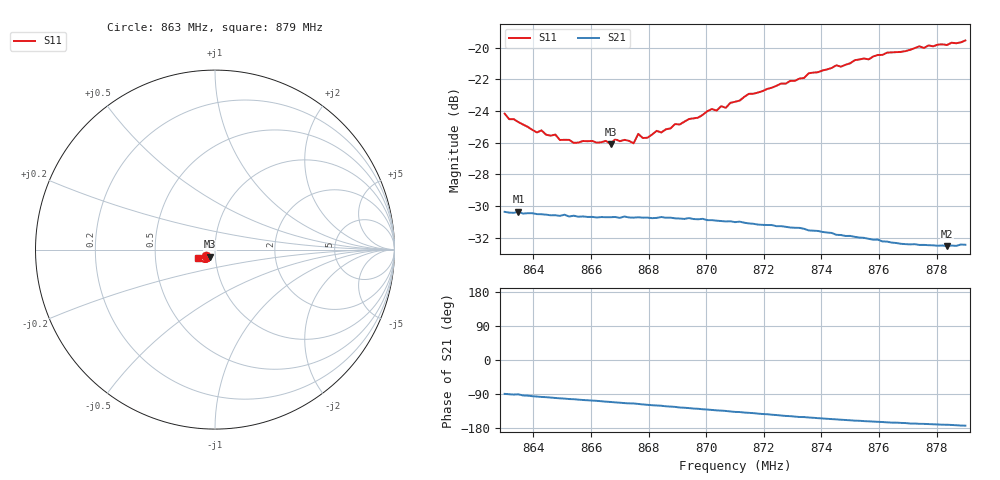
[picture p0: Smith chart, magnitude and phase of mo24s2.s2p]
# HZ S RI R 50
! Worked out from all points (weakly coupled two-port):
!   101 points, 863 MHz to 879 MHz, reference 50 ohm
!   highest |S21| = -30.37 dB at 863.48 MHz (marker M1); lowest = -32.5 dB at 878.36 MHz (marker M2)
!   lowest |S11| = -26.1 dB at 866.68 MHz (marker M3), VSWR 1.10, Z = 47 - j3.73 ohm
!   |S11| at or under -10 dB: start of sweep to end of sweep
!   S12 and S22 are empty: the file has one direction only
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8.63e8  -0.0506 -0.0356  0.000336 -0.0303  0 0  0 0
8.6316e8  -0.0475 -0.0357  -0.00021 -0.0301  0 0  0 0
8.6348e8  -0.0448 -0.0372  -0.000349 -0.0303  0 0  0 0
8.6412e8  -0.0409 -0.0352  -0.00333 -0.0296  0 0  0 0
8.6476e8  -0.0386 -0.0366  -0.00524 -0.0291  0 0  0 0
8.6492e8  -0.0369 -0.0354  -0.00567 -0.0289  0 0  0 0
8.6572e8  -0.0337 -0.0379  -0.00785 -0.0282  0 0  0 0
8.6652e8  -0.0302 -0.0408  -0.00994 -0.0274  0 0  0 0
8.6668e8  -0.0297 -0.0396  -0.0103 -0.0273  0 0  0 0
8.6684e8  -0.0302 -0.0416  -0.0108 -0.0271  0 0  0 0
8.6748e8  -0.0307 -0.0393  -0.0121 -0.0264  0 0  0 0
8.6764e8  -0.0287 -0.0451  -0.0128 -0.0262  0 0  0 0
8.6796e8  -0.0268 -0.0445  -0.0138 -0.0256  0 0  0 0
8.6828e8  -0.0273 -0.0473  -0.0145 -0.0251  0 0  0 0
8.6844e8  -0.0255 -0.0475  -0.0149 -0.0251  0 0  0 0
8.6892e8  -0.0278 -0.0502  -0.0161 -0.024  0 0  0 0
8.71e8  -0.0325 -0.0591  -0.0206 -0.0192  0 0  0 0
8.7148e8  -0.0343 -0.0627  -0.0212 -0.0181  0 0  0 0
8.7372e8  -0.0473 -0.0687  -0.0234 -0.0122  0 0  0 0
8.7644e8  -0.0723 -0.0641  -0.0234 -0.00616  0 0  0 0
8.7836e8  -0.0876 -0.0522  -0.0233 -0.00375  0 0  0 0
8.79e8  -0.0937 -0.0482  -0.0237 -0.00279  0 0  0 0
